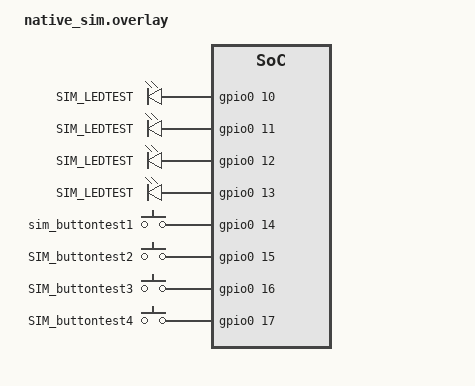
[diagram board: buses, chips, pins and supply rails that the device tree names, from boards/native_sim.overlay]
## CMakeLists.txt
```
cmake_minimum_required(VERSION 3.20.0)

# --------------------------------------------------
# native_sim-only overlay generation
# --------------------------------------------------
if(DEFINED BOARD AND BOARD STREQUAL "native_sim")

  message(STATUS "native_sim build detected - generating devicetree overlay")

  find_package(Python3 REQUIRED COMPONENTS Interpreter)
  
  set(INPUT_OVERLAY ${CMAKE_CURRENT_SOURCE_DIR}/boards/native_posix.overlay)
  set(LED_DATA ${CMAKE_BINARY_DIR}/led_aliases.cmake)
  
  # execute_process(
  #   COMMAND
  #     ${Python3_EXECUTABLE}
  #     ${CMAKE_CURRENT_SOURCE_DIR}/../scripts/extract_led_aliases.py
  #     ${INPUT_OVERLAY}
  #     ${LED_DATA}
  #   WORKING_DIRECTORY
  #     ${CMAKE_CURRENT_SOURCE_DIR}
  #   RESULT_VARIABLE OVERLAY_RESULT
  # )
  
  # if(NOT OVERLAY_RESULT EQUAL 0)
  #   message(FATAL_ERROR "Failed to generate native_sim overlay")
  # endif()
  
  # include(${LED_DATA})
  
  # configure_file(
  #   ${CMAKE_CURRENT_SOURCE_DIR}/boards/native_sim.overlay.in
  #   ${CMAKE_CURRENT_SOURCE_DIR}/boards/native_sim.overlay
  #   @ONLY
  # )
  
  set(EXTRA_DTC_OVERLAY_FILE
      ${CMAKE_CURRENT_SOURCE_DIR}/boards/native_sim.overlay
  )

endif()

# --------------------------------------------------
# Standard Zephyr application setup
# --------------------------------------------------

find_package(Zephyr REQUIRED HINTS $ENV{ZEPHYR_BASE})  # defines 'app' target
project(gpio_tests)

target_sources(app PRIVATE src/main.c)
target_sources(app PRIVATE testing/bme554_lib.c)
target_sources(app PRIVATE testing/gpio_test.c)

target_include_directories(app PRIVATE testing)

target_compile_definitions(app PRIVATE "main=student_main")
```

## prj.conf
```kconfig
CONFIG_LOG=y
# CONFIG_LOG_MODE_DEFERRED=y
# CONFIG_MAIN_STACK_SIZE=4096

# CONFIG_SMF=y
# CONFIG_EVENTS=y
# CONFIG_ADC=y
# CONFIG_PWM=y

CONFIG_GPIO=y
CONFIG_DEBUG_OPTIMIZATIONS=y
CONFIG_DEBUG_THREAD_INFO=y

CONFIG_ZTEST=y
CONFIG_GPIO_EMUL=y
# CONFIG_LOG_BACKEND_UART=y
```

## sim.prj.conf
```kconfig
CONFIG_GPIO=y
CONFIG_GPIO_EMUL=y

CONFIG_INPUT=y
CONFIG_INPUT_GPIO_KEYS=y
CONFIG_LOG=y
CONFIG_LOG_MODE_IMMEDIATE=y
CONFIG_LOG_MODE_DEFERRED=n
CONFIG_LOG_BUFFER_SIZE=0
CONFIG_LOG_DEFAULT_LEVEL=4
CONFIG_EVENTS=y
```

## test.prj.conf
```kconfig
# Test-specific configuration file
# This file enables ztest and is used when building for testing

CONFIG_LOG=y
CONFIG_LOG_MODE_IMMEDIATE=y
CONFIG_LOG_MODE_DEFERRED=n
CONFIG_LOG_DEFAULT_LEVEL=4

CONFIG_GPIO=y
CONFIG_EVENTS=y

# Enable Zephyr Test Framework (ztest) for unit testing
CONFIG_ZTEST=y
CONFIG_ZTEST_STACK_SIZE=2048

CONFIG_LOG_DEFAULT_LEVEL=3

# When ztest is enabled, it provides its own main() function
# The student's main.c will be excluded from the test build
```

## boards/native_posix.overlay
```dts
/ {
	aliases {
        // add your aliases here; examples:
        heartbeat = &led0;  // this corresponds to LED1 on the board
        ivpump = &led1;
        buzzer = &led2;
        error = &led3;
        sleepbutton = &button0;  // this corresponds to SW1 on the board
        frequpbutton = &button1;
        freqdownbutton = &button2;
        resetbutton = &button3;
	};
};
```

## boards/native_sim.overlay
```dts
/ {
    aliases {
        heartbeat = &sim_ledtest1;
        ivpump = &sim_ledtest2;
        buzzer = &sim_ledtest3;
        error = &sim_ledtest4;
        sleepbutton = &sim_buttontest1;
        frequpbutton = &sim_buttontest2;
        freqdownbutton = &sim_buttontest3;
        resetbutton = &sim_buttontest4;
    };

    sim_leds {
        compatible = "gpio-leds";
        sim_ledtest1: led_10 {
            gpios = <&gpio0 10 GPIO_ACTIVE_HIGH>;
            label = "SIM_LEDTEST";
        };
        sim_ledtest2: led_11 {
            gpios = <&gpio0 11 GPIO_ACTIVE_HIGH>;
            label = "SIM_LEDTEST";
        };
        sim_ledtest3: led_12 {
            gpios = <&gpio0 12 GPIO_ACTIVE_HIGH>;
            label = "SIM_LEDTEST";
        };
        sim_ledtest4: led_13 {
            gpios = <&gpio0 13 GPIO_ACTIVE_HIGH>;
            label = "SIM_LEDTEST";
        };
    };
    
    sim_keys {
        compatible = "gpio-keys";
        sim_buttontest1: key_14 {
            gpios = <&gpio0 14 GPIO_ACTIVE_HIGH>;
            label = "sim_buttontest1";
            zephyr,code = <1>; /* KEY_ESC */
        };
        sim_buttontest2: key_15 {
            gpios = <&gpio0 15 GPIO_ACTIVE_HIGH>;
            label = "SIM_buttontest2";
            zephyr,code = <1>; /* KEY_ESC */
        };
        sim_buttontest3: key_16 {
            gpios = <&gpio0 16 GPIO_ACTIVE_HIGH>;
            label = "SIM_buttontest3";
            zephyr,code = <1>; /* KEY_ESC */
        };
        sim_buttontest4: key_17 {
            gpios = <&gpio0 17 GPIO_ACTIVE_HIGH>;
            label = "SIM_buttontest4";
            zephyr,code = <1>; /* KEY_ESC */
        };
    };
};

&gpio0 {
    status = "okay";
};
```

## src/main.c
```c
#include <zephyr/kernel.h>
#include <zephyr/device.h>
#include <zephyr/devicetree.h>
#include <zephyr/drivers/gpio.h> 
#include <zephyr/logging/log.h>  // needs CONFIG_LOG=y in your prj.conf
// #include <zephyr/drivers/adc.h> // CONFIG_ADC=y
// #include <zephyr/drivers/pwm.h> // CONFIG_PWM=y
// #include <zephyr/smf.h> // CONFIG_SMF=y
#include "bme554_lib.h"

LOG_MODULE_REGISTER(main, LOG_LEVEL_DBG);

/* DEFINE MACROS */
#define HEARTBEAT_TOGGLE_INTERVAL_MS 500
#define MS_PER_HZ                    1000
#define LED_BLINK_FREQ_HZ            2
#define FREQ_UP_INC_HZ               1
#define FREQ_DOWN_INC_HZ             1
#define MAX_FREQ_HZ                  5
#define MIN_FREQ_HZ                  1

/* DEFINE GLOBALS AND DT-BASED HARDWARE STRUCTS */
// buttons
const struct gpio_dt_spec sleep_button = GPIO_DT_SPEC_GET(DT_ALIAS(sleepbutton), gpios);
const struct gpio_dt_spec freq_up_button = GPIO_DT_SPEC_GET(DT_ALIAS(frequpbutton), gpios);
const struct gpio_dt_spec freq_down_button = GPIO_DT_SPEC_GET(DT_ALIAS(freqdownbutton), gpios);
const struct gpio_dt_spec reset_button = GPIO_DT_SPEC_GET(DT_ALIAS(resetbutton), gpios);

// LEDs
const struct gpio_dt_spec heartbeat_led = GPIO_DT_SPEC_GET(DT_ALIAS(heartbeat), gpios);
const struct gpio_dt_spec iv_pump_led = GPIO_DT_SPEC_GET(DT_ALIAS(ivpump), gpios);
const struct gpio_dt_spec buzzer_led = GPIO_DT_SPEC_GET(DT_ALIAS(buzzer), gpios);
const struct gpio_dt_spec error_led = GPIO_DT_SPEC_GET(DT_ALIAS(error), gpios);

/* DEFINE CALLBACK FUNCTIONS */
void sleep_button_callback(const struct device *dev, struct gpio_callback *cb, uint32_t pins);
void freq_up_button_callback(const struct device *dev, struct gpio_callback *cb, uint32_t pins);
void freq_down_button_callback(const struct device *dev, struct gpio_callback *cb, uint32_t pins);
void reset_button_callback(const struct device *dev, struct gpio_callback *cb, uint32_t pins);

/* INITIALIZE GPIO CALLBACK STRUCTS */
static struct gpio_callback sleep_button_cb;
static struct gpio_callback freq_up_button_cb;
static struct gpio_callback freq_down_button_cb;
static struct gpio_callback reset_button_cb;

/* DEFINE STATES FOR STATE MACHINE */
enum states { INIT, BLINKING_ENTRY, BLINKING_RUN, SLEEP, RESET, ERROR };

/* DEFINE LED INFORMATION STRUCTS */
struct led {
    int64_t toggle_time;
    bool illuminated;
};
struct led heartbeat_led_status = {
    .toggle_time = 0,
    .illuminated = true
};
struct led iv_pump_led_status = {
    .toggle_time = 0,
    .illuminated = true
};

/* DECLARE FUNCTION PROTOTYPES */
int heartbeat();
int actionLEDs();

/* DECLARE GLOBAL VARIABLES */
int state = INIT;
int next_state = INIT;
int64_t current_time;
int action_led_hz = LED_BLINK_FREQ_HZ;
bool sleep_button_event = 0;
bool up_button_event = 0;
bool down_button_event = 0;
bool reset_button_event = 0;

int main(void)
{
    while (1) {
        current_time = k_uptime_get();
        int err = 0;
        
        switch (state) {
            case INIT:
                // check if interface is ready
                if (!device_is_ready(sleep_button.port)) {
                    LOG_ERR("gpio0 interface not ready.");
                    return -1;
                }
                
                /* CONFIGURE BUTTON GPIO PINS */
                err = gpio_pin_configure_dt(&sleep_button, GPIO_INPUT);
                if (err < 0) {
                    LOG_ERR("Cannot configure sleep button.");
                    return err;
                }
                err = gpio_pin_configure_dt(&freq_up_button, GPIO_INPUT);
                if (err < 0) {
                    LOG_ERR("Cannot configure freq_up button.");
                    return err;
                }
                err = gpio_pin_configure_dt(&freq_down_button, GPIO_INPUT);
                if (err < 0) {
                    LOG_ERR("Cannot configure freq_down button.");
                    return err;
                }
                err = gpio_pin_configure_dt(&reset_button, GPIO_INPUT);
                if (err < 0) {
                    LOG_ERR("Cannot configure reset button.");
                    return err;
                }
                
                /* CONFIGURE BUTTON CALLBACKS */
                // sleep
                err = gpio_pin_interrupt_configure_dt(&sleep_button, GPIO_INT_EDGE_TO_ACTIVE); 
                if (err < 0) {
                    LOG_ERR("Cannot attach callback to sw0.");
                }
                gpio_init_callback(&sleep_button_cb, sleep_button_callback, BIT(sleep_button.pin));
                err = gpio_add_callback_dt(&sleep_button, &sleep_button_cb);
                if (err < 0) {
                    LOG_ERR("Cannot add callback to sw0.");
                }
                // freq_up
                err = gpio_pin_interrupt_configure_dt(&freq_up_button, GPIO_INT_EDGE_TO_ACTIVE); 
                if (err < 0) {
                    LOG_ERR("Cannot attach callback to sw1.");
                }
                gpio_init_callback(&freq_up_button_cb, freq_up_button_callback, BIT(freq_up_button.pin));
                err = gpio_add_callback_dt(&freq_up_button, &freq_up_button_cb);
                if (err < 0) {
                    LOG_ERR("Cannot add callback to sw1.");
                }
                // freq_down
                err = gpio_pin_interrupt_configure_dt(&freq_down_button, GPIO_INT_EDGE_TO_ACTIVE); 
                if (err < 0) {
                    LOG_ERR("Cannot attach callback to sw2.");
                }
                gpio_init_callback(&freq_down_button_cb, freq_down_button_callback, BIT(freq_down_button.pin));
                err = gpio_add_callback_dt(&freq_down_button, &freq_down_button_cb);
                if (err < 0) {
                    LOG_ERR("Cannot add callback to sw2.");
                }
                // reset
                err = gpio_pin_interrupt_configure_dt(&reset_button, GPIO_INT_EDGE_TO_ACTIVE); 
                if (err < 0) {
                    LOG_ERR("Cannot attach callback to sw3.");
                }
                gpio_init_callback(&reset_button_cb, reset_button_callback, BIT(reset_button.pin));
                err = gpio_add_callback_dt(&reset_button, &reset_button_cb);
                if (err < 0) {
                    LOG_ERR("Cannot add callback to sw3.");
                }
                
                /* CONFIGURE LEDs */
                err = gpio_pin_configure_dt(&heartbeat_led, GPIO_OUTPUT_ACTIVE);
                if (err < 0) {
                    LOG_ERR("Cannot configure heartbeat LED.");
                    return err;
                }
                err = gpio_pin_configure_dt(&iv_pump_led, GPIO_OUTPUT_ACTIVE);
                if (err < 0) {
                    LOG_ERR("Cannot configure iv_pump LED.");
                    return err;
                }
                err = gpio_pin_configure_dt(&buzzer_led, GPIO_OUTPUT_INACTIVE);
                if (err < 0) {
                    LOG_ERR("Cannot configure buzzer LED.");
                    return err;
                }
                err = gpio_pin_configure_dt(&error_led, GPIO_OUTPUT_INACTIVE);
                if (err < 0) {
                    LOG_ERR("Cannot configure error LED.");
                    return err;
                }
                
                // skip entry setup because we just did it
                next_state = BLINKING_RUN;
                break;
            case BLINKING_ENTRY:
                err = heartbeat();
                if (err < 0) {
                    return err;
                }
                
                /* RECONFIGURE BUTTONS TO ENABLE CALLBACKS */
                err = gpio_pin_interrupt_configure_dt(&sleep_button, GPIO_INT_EDGE_TO_ACTIVE); 
                if (err < 0) {
                    LOG_ERR("Cannot attach callback to sw0.");
                }
                err = gpio_pin_interrupt_configure_dt(&freq_up_button, GPIO_INT_EDGE_TO_ACTIVE); 
                if (err < 0) {
                    LOG_ERR("Cannot attach callback to sw1.");
                }
                err = gpio_pin_interrupt_configure_dt(&freq_down_button, GPIO_INT_EDGE_TO_ACTIVE); 
                if (err < 0) {
                    LOG_ERR("Cannot attach callback to sw2.");
                }
                
                /* SET LEDS */
                err =  gpio_pin_set_dt(&iv_pump_led, iv_pump_led_status.illuminated);
                if (err < 0) {
                    LOG_ERR("Failed to set iv_pump LED.");
                    return err;
                }
                err =  gpio_pin_set_dt(&buzzer_led, !iv_pump_led_status.illuminated);
                if (err < 0) {
                    LOG_ERR("Failed to set buzzer LED.");
                    return err;
                }
                err =  gpio_pin_set_dt(&error_led, 0);
                if (err < 0) {
                    LOG_ERR("Failed to set error LED.");
                    return err;
                }
                
                next_state = BLINKING_RUN;
                break;
            case BLINKING_RUN:
                err = heartbeat();
                if (err < 0) {
                    return err;
                }
                err = actionLEDs();
                if (err < 0) {
                    return err;
                }
                break;
            case ERROR:
                err = heartbeat();
                if (err < 0) {
                    return err;
                }
                
                /* RECONFIGURE BUTTONS TO DISABLE CALLBACKS */
                err = gpio_pin_interrupt_configure_dt(&sleep_button, GPIO_INT_DISABLE); 
                if (err < 0) {
                    LOG_ERR("Cannot attach callback to sw0.");
                }
                err = gpio_pin_interrupt_configure_dt(&freq_up_button, GPIO_INT_DISABLE); 
                if (err < 0) {
                    LOG_ERR("Cannot attach callback to sw1.");
                }
                err = gpio_pin_interrupt_configure_dt(&freq_down_button, GPIO_INT_DISABLE); 
                if (err < 0) {
                    LOG_ERR("Cannot attach callback to sw2.");
                }
                
                /* SET LEDS */
                err =  gpio_pin_set_dt(&iv_pump_led, 0);
                if (err < 0) {
                    LOG_ERR("Failed to set iv_pump LED.");
                    return err;
                }
                iv_pump_led_status.illuminated = false;
                err =  gpio_pin_set_dt(&buzzer_led, 0);
                if (err < 0) {
                    LOG_ERR("Failed to set buzzer LED.");
                    return err;
                }
                err =  gpio_pin_set_dt(&error_led, 1);
                if (err < 0) {
                    LOG_ERR("Failed to set error LED.");
                    return err;
                }
                
                ERROR_STATUS();
                
                next_state = ERROR;
                break;
            case RESET:
                err = heartbeat();
                if (err < 0) {
                    return err;
                }
                
                action_led_hz = LED_BLINK_FREQ_HZ;
                
                RESET_STATUS();
                
                next_state = BLINKING_ENTRY;
                break;
            case SLEEP:
                err = heartbeat();
                if (err < 0) {
                    return err;
                }
                
                /* RECONFIGURE BUTTONS TO DISABLE CALLBACKS */
                err = gpio_pin_interrupt_configure_dt(&freq_up_button, GPIO_INT_DISABLE); 
                if (err < 0) {
                    LOG_ERR("Cannot attach callback to sw1.");
                }
                err = gpio_pin_interrupt_configure_dt(&freq_down_button, GPIO_INT_DISABLE); 
                if (err < 0) {
                    LOG_ERR("Cannot attach callback to sw2.");
                }
                
                /* TURN OFF LEDS */
                err =  gpio_pin_set_dt(&iv_pump_led, 0);
                if (err < 0) {
                    LOG_ERR("Failed to set iv_pump LED.");
                    return err;
                }
                err =  gpio_pin_set_dt(&buzzer_led, 0);
                if (err < 0) {
                    LOG_ERR("Failed to set buzzer LED.");
                    return err;
                }
                
                SLEEP_STATUS();
                
                next_state = SLEEP;
                break;
            default:
                break;
        }
        
        /* CHECK BUTTON CALLBACKS */
        if (sleep_button_event) {
            LOG_INF("Sleep button pressed");
            next_state = state == SLEEP ? BLINKING_ENTRY : SLEEP;
            sleep_button_event = false;
            SLEEP_PRESSED();
        }
        if (up_button_event) {
            action_led_hz += FREQ_UP_INC_HZ;
            LOG_INF("Freq Up button pressed, frequency is %d", action_led_hz);
            up_button_event = false;
            FREQUENCY_UP_PRESSED(action_led_hz);
        }
        if (down_button_event) {
            action_led_hz -= FREQ_DOWN_INC_HZ;
            LOG_INF("Freq Down button pressed, frequency is %d", action_led_hz);
            down_button_event = false;
            FREQUENCY_DOWN_PRESSED(action_led_hz);
        }
        if ((action_led_hz < MIN_FREQ_HZ || action_led_hz > MAX_FREQ_HZ) && state != ERROR) {
            LOG_ERR("Action freq out of range 1-5: %d.", action_led_hz);
            next_state = ERROR;
        }
        if (reset_button_event) {
            LOG_INF("Reset button pressed, resetting frequency to %d", LED_BLINK_FREQ_HZ);
            next_state = RESET;
            reset_button_event = false;
            RESET_PRESSED();
        }
        
        state = next_state;
        k_msleep(10);
    }
    
    return 0;
}

int heartbeat() {
    if (current_time - heartbeat_led_status.toggle_time > HEARTBEAT_TOGGLE_INTERVAL_MS) {
        int err = gpio_pin_toggle_dt(&heartbeat_led);
        if (err < 0) {
            LOG_ERR("Failed to toggle heartbeat LED.");
            return err;
        }
        heartbeat_led_status.toggle_time = current_time;
        heartbeat_led_status.illuminated = !heartbeat_led_status.illuminated;
        LOG_INF("Heartbeat LED toggled");
    }
    
    return 0;
}

int actionLEDs() {
    int64_t target_time_passed = MS_PER_HZ / (action_led_hz * 2);
    if (current_time - iv_pump_led_status.toggle_time > target_time_passed) {
        int err = gpio_pin_toggle_dt(&iv_pump_led);
        if (err < 0) {
            LOG_ERR("Failed to toggle iv_pump LED.");
            return err;
        }
        err = gpio_pin_toggle_dt(&buzzer_led);
        if (err < 0) {
            LOG_ERR("Failed to toggle buzzer LED.");
            return err;
        }
        iv_pump_led_status.toggle_time = current_time;
        iv_pump_led_status.illuminated = !iv_pump_led_status.illuminated;
        LOG_INF("IV Pump and Buzzer LEDs toggled");
    }
    
    return 0;
}

void sleep_button_callback(const struct device *dev, struct gpio_callback *cb, uint32_t pins)
{
    sleep_button_event = true;
}

void freq_up_button_callback(const struct device *dev, struct gpio_callback *cb, uint32_t pins)
{
    up_button_event = true;
}

void freq_down_button_callback(const struct device *dev, struct gpio_callback *cb, uint32_t pins)
{
    down_button_event = true;
}

void reset_button_callback(const struct device *dev, struct gpio_callback *cb, uint32_t pins)
{
    reset_button_event = true;
}
```

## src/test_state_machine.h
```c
/**
 * @brief Shared types and declarations for IV Pump state machine ZTests
 *
 * Place this alongside test_state_machine.c in your tests/ folder.
 * Your CMakeLists.txt should rename the student's main() to student_main().
 */

#ifndef TEST_STATE_MACHINE_H
#define TEST_STATE_MACHINE_H

#include <zephyr/kernel.h>
#include <zephyr/drivers/gpio.h>

/* ------------------------------------------------------------------ */
/*  External references to student globals (exposed for testing)       */
/* ------------------------------------------------------------------ */

/* State machine */
extern int state;
extern int next_state;

/* Button event flags (set by callbacks, cleared by main loop) */
extern bool sleep_button_event;
extern bool up_button_event;
extern bool down_button_event;
extern bool reset_button_event;

/* LED status structs so tests can read toggle_time / illuminated */
struct led_status {
    int64_t toggle_time;
    bool    illuminated;
};
extern struct led_status heartbeat_led_status;
extern struct led_status iv_pump_led_status;

/* Blink frequency controlled by freq_up / freq_down buttons */
extern int action_led_hz;

/* ------------------------------------------------------------------ */
/*  State enum (mirrors student code)                                  */
/* ------------------------------------------------------------------ */
enum states { INIT, BLINKING_ENTRY, BLINKING_RUN, SLEEP, RESET, ERROR };

/* ------------------------------------------------------------------ */
/*  Timing constants (mirrors student macros)                          */
/* ------------------------------------------------------------------ */
#define HEARTBEAT_TOGGLE_INTERVAL_MS 500
#define MS_PER_HZ                    1000
#define LED_BLINK_FREQ_HZ            2
#define MAX_FREQ_HZ                  5
#define MIN_FREQ_HZ                  1

/* ------------------------------------------------------------------ */
/*  Thread config for running student_main in background               */
/* ------------------------------------------------------------------ */
#define STUDENT_MAIN_STACK_SIZE 2048
#define STUDENT_MAIN_PRIORITY   5

extern int student_main(void);  /* renamed by CMake */

#endif /* TEST_STATE_MACHINE_H */
```
